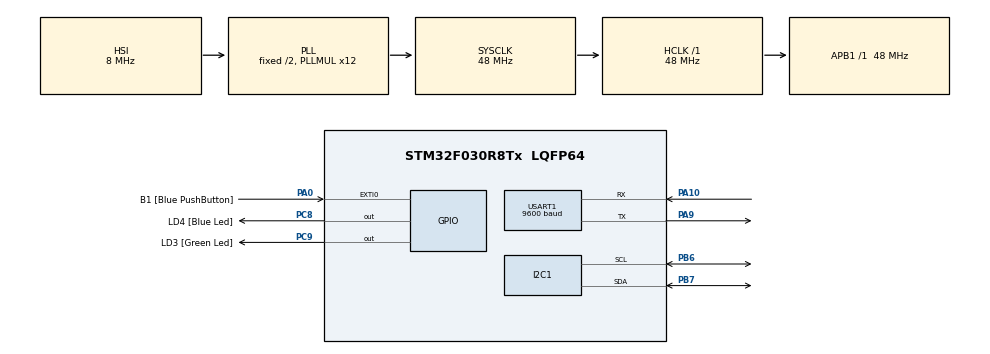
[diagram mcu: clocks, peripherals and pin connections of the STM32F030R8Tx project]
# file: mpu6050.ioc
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I2C1.OwnAddress=0x68
Mcu.Family=STM32F0
Mcu.Name=STM32F030R8Tx
Mcu.Package=LQFP64
NVIC.USART1_IRQn=true\:0\:0\:false\:false\:true
PA0.GPIO_Label=B1 [Blue PushButton]
PA0.GPIO_ModeDefaultEXTI=GPIO_MODE_EVT_RISING
PA0.Signal=GPXTI0
PA10.Mode=Asynchronous
PA10.Signal=USART1_RX
PA13.GPIO_Label=SWDIO
PA13.Signal=SYS_SWDIO
PA14.GPIO_Label=SWCLK
PA14.Signal=SYS_SWCLK
PA9.Mode=Asynchronous
PA9.Signal=USART1_TX
PB6.Mode=I2C
PB6.Signal=I2C1_SCL
PB7.Mode=I2C
PB7.Signal=I2C1_SDA
PC8.GPIO_Label=LD4 [Blue Led]
PC8.Signal=GPIO_Output
PC9.GPIO_Label=LD3 [Green Led]
PC9.Signal=GPIO_Output
ProjectManager.HeapSize=0x200
ProjectManager.StackSize=0x400
ProjectManager.TargetToolchain=MDK-ARM V5
RCC.AHBFreq_Value=48000000
RCC.APB1Freq_Value=48000000
RCC.APB1TimFreq_Value=48000000
RCC.HCLKFreq_Value=48000000
RCC.PLLMUL=RCC_PLL_MUL12
RCC.SYSCLKFreq_VALUE=48000000
RCC.SYSCLKSource=RCC_SYSCLKSOURCE_PLLCLK
USART1.BaudRate=9600
USART1.VirtualMode-Asynchronous=VM_ASYNC
board=STM32F0308-DISCO

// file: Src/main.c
/**
  ******************************************************************************
  * File Name          : main.c
  * Description        : Main program body
  ******************************************************************************
  ** This notice applies to any and all portions of this file
  * that are not between comment pairs USER CODE BEGIN and
  * USER CODE END. Other portions of this file, whether
  * inserted by the user or by software development tools
  * are owned by their respective copyright owners.
  *
  * COPYRIGHT(c) 2017 STMicroelectronics
  *
  * Redistribution and use in source and binary forms, with or without modification,
  * are permitted provided that the following conditions are met:
  *   1. Redistributions of source code must retain the above copyright notice,
  *      this list of conditions and the following disclaimer.
  *   2. Redistributions in binary form must reproduce the above copyright notice,
  *      this list of conditions and the following disclaimer in the documentation
  *      and/or other materials provided with the distribution.
  *   3. Neither the name of STMicroelectronics nor the names of its contributors
  *      may be used to endorse or promote products derived from this software
  *      without specific prior written permission.
  *
  * THIS SOFTWARE IS PROVIDED BY THE COPYRIGHT HOLDERS AND CONTRIBUTORS "AS IS"
  * AND ANY EXPRESS OR IMPLIED WARRANTIES, INCLUDING, BUT NOT LIMITED TO, THE
  * IMPLIED WARRANTIES OF MERCHANTABILITY AND FITNESS FOR A PARTICULAR PURPOSE ARE
  * DISCLAIMED. IN NO EVENT SHALL THE COPYRIGHT HOLDER OR CONTRIBUTORS BE LIABLE
  * FOR ANY DIRECT, INDIRECT, INCIDENTAL, SPECIAL, EXEMPLARY, OR CONSEQUENTIAL
  * DAMAGES (INCLUDING, BUT NOT LIMITED TO, PROCUREMENT OF SUBSTITUTE GOODS OR
  * SERVICES; LOSS OF USE, DATA, OR PROFITS; OR BUSINESS INTERRUPTION) HOWEVER
  * CAUSED AND ON ANY THEORY OF LIABILITY, WHETHER IN CONTRACT, STRICT LIABILITY,
  * OR TORT (INCLUDING NEGLIGENCE OR OTHERWISE) ARISING IN ANY WAY OUT OF THE USE
  * OF THIS SOFTWARE, EVEN IF ADVISED OF THE POSSIBILITY OF SUCH DAMAGE.
  *
  ******************************************************************************
  */
#include "main.h"
#include "stm32f0xx_hal.h"
#include "i2c.h"
#include "usart.h"
#include "gpio.h"

/* USER CODE BEGIN Includes */
#include "motionApps20.h"

#define OUTPUT_READABLE_YAWPITCHROLL
/* USER CODE END Includes */

/* USER CODE BEGIN PV */

// MPU control/status vars
bool dmpReady = false;  // set true if DMP init was successful
uint8_t mpuIntStatus;   // holds actual interrupt status byte from MPU
uint8_t devStatus;      // return status after each device operation (0 = success, !0 = error)
uint16_t packetSize;    // expected DMP packet size (default is 42 bytes)
uint16_t fifoCount;     // count of all bytes currently in FIFO
uint8_t fifoBuffer[64]; // FIFO storage buffer

// orientation/motion vars
Quaternion q;           // [w, x, y, z]         quaternion container
VectorInt16 aa;         // [x, y, z]            accel sensor measurements
VectorInt16 aaReal;     // [x, y, z]            gravity-free accel sensor measurements
VectorInt16 aaWorld;    // [x, y, z]            world-frame accel sensor measurements
VectorFloat gravity;    // [x, y, z]            gravity vector
float euler[3];         // [psi, theta, phi]    Euler angle container
float ypr[3];           // [yaw, pitch, roll]   yaw/pitch/roll container and gravity vector

// packet structure for InvenSense teapot demo
uint8_t teapotPacket[14] = { '$', 0x02, 0,0, 0,0, 0,0, 0,0, 0x00, 0x00, '\r', '\n' };

/* Private variables ---------------------------------------------------------*/

/* USER CODE END PV */

void SystemClock_Config(void);

/* USER CODE BEGIN PFP */
/* Private function prototypes -----------------------------------------------*/

int fputc(int ch, FILE *f){
		HAL_UART_Transmit(&huart1, (uint8_t *) &ch, 1, 100);
		return ch;
}
/* USER CODE END PFP */

/* USER CODE BEGIN 0 */

// ================================================================
// ===               INTERRUPT DETECTION ROUTINE                ===
// ================================================================

volatile bool mpuInterrupt = false;     // indicates whether MPU interrupt pin has gone high
void dmpDataReady() {
    mpuInterrupt = true;
}

void setup(void){

    initialize();

    // verify connection
    //Serial.println(F("Testing device connections..."));
    //Serial.println(mpu.testConnection() ? F("MPU6050 connection successful") : F("MPU6050 connection failed"));

    // wait for ready
    //Serial.println(F("\nSend any character to begin DMP programming and demo: "));
    //while (Serial.available() && Serial.read()); // empty buffer
    //while (!Serial.available());                 // wait for data
    //while (Serial.available() && Serial.read()); // empty buffer again

    // load and configure the DMP
    //Serial.println(F("Initializing DMP..."));
    devStatus = dmpInitialize();

    // supply your own gyro offsets here, scaled for min sensitivity
    setXGyroOffset(220);
    setYGyroOffset(76);
    setZGyroOffset(-85);
    setZAccelOffset(1788); // 1688 factory default for my test chip

    // make sure it worked (returns 0 if so)
    if (devStatus == 0) {
        // turn on the DMP, now that it's ready
        Serial.println(F("Enabling DMP..."));
        mpu.setDMPEnabled(true);

        // enable Arduino interrupt detection
        Serial.println(F("Enabling interrupt detection (Arduino external interrupt 0)..."));
        attachInterrupt(0, dmpDataReady, RISING);
        mpuIntStatus = mpu.getIntStatus();

        // set our DMP Ready flag so the main loop() function knows it's okay to use it
        Serial.println(F("DMP ready! Waiting for first interrupt..."));
        dmpReady = true;

        // get expected DMP packet size for later comparison
        packetSize = mpu.dmpGetFIFOPacketSize();
    } else {
        // ERROR!
        // 1 = initial memory load failed
        // 2 = DMP configuration updates failed
        // (if it's going to break, usually the code will be 1)
        Serial.print(F("DMP Initialization failed (code "));
        Serial.print(devStatus);
        Serial.println(F(")"));
    }

    // configure LED for output
    pinMode(LED_PIN, OUTPUT);

}
/* USER CODE END 0 */

int main(void)
{

  /* MCU Configuration----------------------------------------------------------*/

  /* Reset of all peripherals, Initializes the Flash interface and the Systick. */
  HAL_Init();

  /* Configure the system clock */
  SystemClock_Config();

  /* Initialize all configured peripherals */
  MX_GPIO_Init();
  MX_I2C1_Init();
  MX_USART1_UART_Init();

  /* Infinite loop */
  while (1)
  {

  }

}

/** System Clock Configuration
*/
void SystemClock_Config(void)
{

  RCC_OscInitTypeDef RCC_OscInitStruct;
  RCC_ClkInitTypeDef RCC_ClkInitStruct;
  RCC_PeriphCLKInitTypeDef PeriphClkInit;

    /**Initializes the CPU, AHB and APB busses clocks
    */
  RCC_OscInitStruct.OscillatorType = RCC_OSCILLATORTYPE_HSI;
  RCC_OscInitStruct.HSIState = RCC_HSI_ON;
  RCC_OscInitStruct.HSICalibrationValue = 16;
  RCC_OscInitStruct.PLL.PLLState = RCC_PLL_ON;
  RCC_OscInitStruct.PLL.PLLSource = RCC_PLLSOURCE_HSI;
  RCC_OscInitStruct.PLL.PLLMUL = RCC_PLL_MUL12;
  RCC_OscInitStruct.PLL.PREDIV = RCC_PREDIV_DIV1;
  if (HAL_RCC_OscConfig(&RCC_OscInitStruct) != HAL_OK)
  {
    _Error_Handler(__FILE__, __LINE__);
  }

    /**Initializes the CPU, AHB and APB busses clocks
    */
  RCC_ClkInitStruct.ClockType = RCC_CLOCKTYPE_HCLK|RCC_CLOCKTYPE_SYSCLK
                              |RCC_CLOCKTYPE_PCLK1;
  RCC_ClkInitStruct.SYSCLKSource = RCC_SYSCLKSOURCE_PLLCLK;
  RCC_ClkInitStruct.AHBCLKDivider = RCC_SYSCLK_DIV1;
  RCC_ClkInitStruct.APB1CLKDivider = RCC_HCLK_DIV1;

  if (HAL_RCC_ClockConfig(&RCC_ClkInitStruct, FLASH_LATENCY_1) != HAL_OK)
  {
    _Error_Handler(__FILE__, __LINE__);
  }

  PeriphClkInit.PeriphClockSelection = RCC_PERIPHCLK_USART1|RCC_PERIPHCLK_I2C1;
  PeriphClkInit.Usart1ClockSelection = RCC_USART1CLKSOURCE_PCLK1;
  PeriphClkInit.I2c1ClockSelection = RCC_I2C1CLKSOURCE_HSI;
  if (HAL_RCCEx_PeriphCLKConfig(&PeriphClkInit) != HAL_OK)
  {
    _Error_Handler(__FILE__, __LINE__);
  }

    /**Configure the Systick interrupt time
    */
  HAL_SYSTICK_Config(HAL_RCC_GetHCLKFreq()/1000);

    /**Configure the Systick
    */
  HAL_SYSTICK_CLKSourceConfig(SYSTICK_CLKSOURCE_HCLK);

  /* SysTick_IRQn interrupt configuration */
  HAL_NVIC_SetPriority(SysTick_IRQn, 0, 0);
}

void _Error_Handler(char * file, int line)
{
  while(1)
  {
  }
}

/************************ (C) COPYRIGHT STMicroelectronics *****END OF FILE****/
